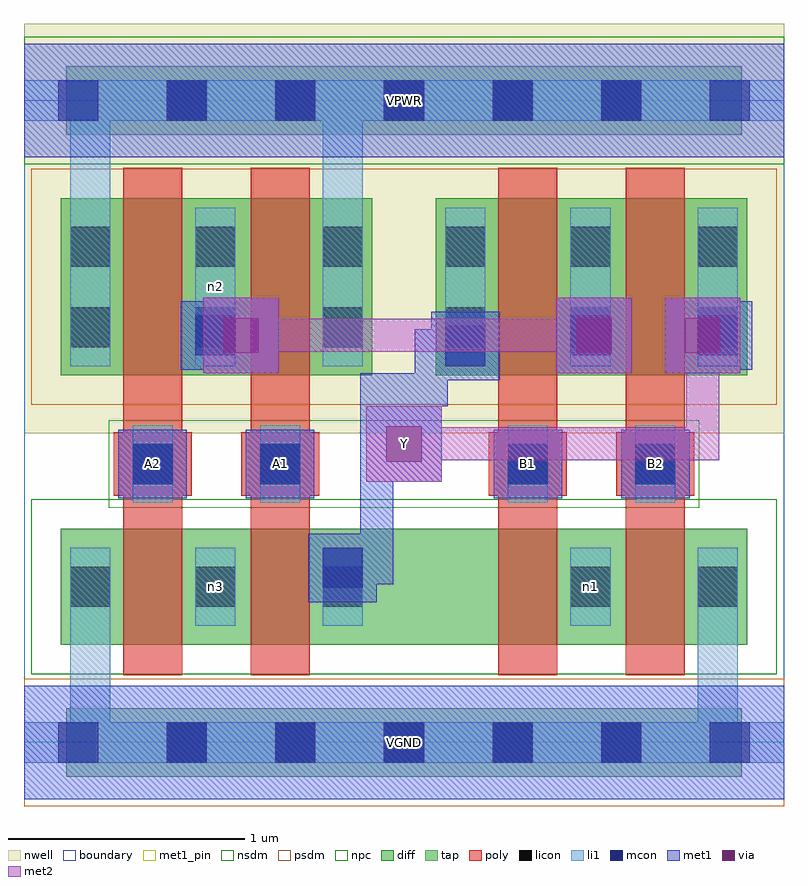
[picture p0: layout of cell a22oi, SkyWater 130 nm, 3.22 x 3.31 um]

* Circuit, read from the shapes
.subckt a22oi A1 A2 B1 B2 VGND VPWR Y n1 n2 n3
XM1 n3 A2 VGND VGND sky130_fd_pr__nfet_01v8 w=0.49 l=0.25
XM2 Y A1 n3 VGND sky130_fd_pr__nfet_01v8 w=0.49 l=0.25
XM3 n1 B1 Y VGND sky130_fd_pr__nfet_01v8 w=0.49 l=0.25
XM4 VGND B2 n1 VGND sky130_fd_pr__nfet_01v8 w=0.49 l=0.25
XM5 n2 A2 VPWR VPWR sky130_fd_pr__pfet_01v8 w=0.75 l=0.25
XM6 VPWR A1 n2 VPWR sky130_fd_pr__pfet_01v8 w=0.75 l=0.25
XM7 n2 B1 Y VPWR sky130_fd_pr__pfet_01v8 w=0.75 l=0.25
XM8 Y B2 n2 VPWR sky130_fd_pr__pfet_01v8 w=0.75 l=0.25
.ends

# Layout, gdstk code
import gdstk
lib = gdstk.Library(unit=1e-6, precision=1e-09)
def R(c, l, rs):  # rectangles x0, y0, x1, y1
    for r in rs: c.add(gdstk.rectangle(r[:2], r[2:], *l))
def A(c, l, x, y, w, h, nx, ny, dx, dy):  # array of equal rectangles
    R(c, l, [(x+i*dx, y+j*dy, x+i*dx+w, y+j*dy+h) for i in range(nx) for j in range(ny)])
nwell = (64, 20)
diff = (65, 20)
tap = (65, 44)
poly = (66, 20)
licon = (66, 44)
li1 = (67, 20)
mcon = (67, 44)
met1_pin = (68, 16)
met1 = (68, 20)
via = (68, 44)
met2 = (69, 20)
nsdm = (93, 44)
psdm = (94, 20)
npc = (95, 20)
boundary = (235, 4)

a22oi = lib.new_cell('a22oi')
R(a22oi, nwell, [(0,1.31,3.22,3.045)])
R(a22oi, diff, [(0.155,0.415,3.065,0.905), (0.155,1.555,1.475,2.305), (1.745,1.555,3.065,2.305)])
R(a22oi, tap, [(0.18,-0.145,3.04,0.145), (0.18,2.575,3.04,2.865)])
R(a22oi, poly, [(0.42,0.285,0.67,2.435), (0.96,0.285,1.21,2.435), (2.01,0.285,2.26,2.435), (2.55,0.285,2.8,2.435), (0.38,1.045,0.71,1.315), (0.92,1.045,1.25,1.315), (1.97,1.045,2.3,1.315), (2.51,1.045,2.84,1.315)])
A(a22oi, licon, 0.605, -0.085, 0.17, 0.17, 5, 2, 0.46, 2.72)
R(a22oi, licon, [(0.195,0.575,0.365,0.745), (0.725,0.575,0.895,0.745), (1.265,0.575,1.435,0.745), (2.315,0.575,2.485,0.745), (2.855,0.575,3.025,0.745), (0.46,1.095,0.63,1.265), (1,1.095,1.17,1.265), (2.05,1.095,2.22,1.265), (2.59,1.095,2.76,1.265), (0.195,1.675,0.365,1.845), (0.725,1.675,0.895,1.845), (1.265,1.675,1.435,1.845), (1.785,1.675,1.955,1.845), (2.315,1.675,2.485,1.845), (2.855,1.675,3.025,1.845), (0.195,2.015,0.365,2.185), (0.725,2.015,0.895,2.185), (1.265,2.015,1.435,2.185), (1.785,2.015,1.955,2.185), (2.315,2.015,2.485,2.185), (2.855,2.015,3.025,2.185)])
R(a22oi, li1, [(0,-0.085,3.22,0.085), (0.195,-0.085,0.365,0.825), (2.855,-0.085,3.025,0.825), (0.195,0.495,0.365,0.825), (0.725,0.495,0.895,0.825), (1.265,0.495,1.435,0.825), (2.315,0.495,2.485,0.825), (2.855,0.495,3.025,0.825), (0.46,1.015,0.63,1.345), (1,1.015,1.17,1.345), (2.05,1.015,2.22,1.345), (2.59,1.015,2.76,1.345), (0.195,1.595,0.365,2.265), (0.195,1.595,0.365,2.805), (0.725,1.595,0.895,2.265), (1.265,1.595,1.435,2.265), (1.265,1.595,1.435,2.805), (1.785,1.595,1.955,2.265), (2.315,1.595,2.485,2.265), (2.855,1.595,3.025,2.265), (0,2.635,3.22,2.805)])
A(a22oi, mcon, 0.145, -0.085, 0.17, 0.17, 7, 2, 0.46, 2.72)
R(a22oi, mcon, [(1.265,0.655,1.435,0.825), (0.46,1.095,0.63,1.265), (1,1.095,1.17,1.265), (2.05,1.095,2.22,1.265), (2.59,1.095,2.76,1.265), (1.785,1.595,1.955,1.765), (0.725,1.64,0.895,1.81), (2.315,1.64,2.485,1.81), (2.855,1.64,3.025,1.81)])
R(a22oi, met1_pin, [(0,-0.24,3.22,0.24), (0.4,1.035,0.69,1.325), (0.94,1.035,1.23,1.325), (1.99,1.035,2.28,1.325), (2.53,1.035,2.82,1.325), (1.45,1.105,1.77,1.425), (0,2.48,3.22,2.96)])
R(a22oi, met1, [(0,-0.24,3.22,0.24), (1.205,0.595,1.495,0.885), (1.28,0.67,1.565,0.81), (1.425,0.67,1.565,0.99), (1.425,0.85,1.565,1.565), (0.4,1.035,0.69,1.325), (0.94,1.035,1.23,1.325), (1.99,1.035,2.28,1.325), (2.53,1.035,2.82,1.325), (1.45,1.105,1.77,1.425), (1.425,1.195,1.68,1.335), (1.425,1.335,1.68,1.425), (1.425,1.425,1.795,1.565), (1.655,1.425,1.795,1.75), (1.725,1.535,2.015,1.825), (0.76,1.565,1.08,1.885), (2.255,1.565,2.575,1.885), (2.715,1.565,3.035,1.885), (0.665,1.58,0.955,1.87), (2.255,1.58,2.545,1.87), (2.795,1.58,3.085,1.87), (1.655,1.61,1.94,1.75), (0.74,1.655,0.99,1.795), (2.33,1.655,2.485,1.795), (2.805,1.655,3.01,1.795), (0,2.48,3.22,2.96)])
R(a22oi, via, [(1.535,1.19,1.685,1.34), (0.845,1.65,0.995,1.8), (2.34,1.65,2.49,1.8), (2.8,1.65,2.95,1.8)])
R(a22oi, met2, [(1.45,1.105,1.77,1.425), (1.54,1.195,2.945,1.335), (2.805,1.195,2.945,1.795), (0.76,1.565,1.08,1.885), (2.255,1.565,2.575,1.885), (2.715,1.565,3.035,1.885), (0.85,1.655,2.485,1.795)])
R(a22oi, nsdm, [(0.03,0.29,3.19,1.03), (0,2.45,3.22,2.99)])
R(a22oi, psdm, [(0,-0.27,3.22,0.27), (0.03,1.43,3.19,2.43)])
R(a22oi, npc, [(0.36,0.995,2.86,1.365)])
R(a22oi, boundary, [(0,0,3.22,2.72)])
a22oi.add(gdstk.Label('n3', (0.81,0.66), layer=67, texttype=5))
a22oi.add(gdstk.Label('n1', (2.4,0.66), layer=67, texttype=5))
a22oi.add(gdstk.Label('n2', (0.81,1.93), layer=67, texttype=5))
a22oi.add(gdstk.Label('A1', (1.085,1.18), layer=68, texttype=5))
a22oi.add(gdstk.Label('A2', (0.545,1.18), layer=68, texttype=5))
a22oi.add(gdstk.Label('B1', (2.135,1.18), layer=68, texttype=5))
a22oi.add(gdstk.Label('B2', (2.675,1.18), layer=68, texttype=5))
a22oi.add(gdstk.Label('Y', (1.61,1.265), layer=68, texttype=5))
a22oi.add(gdstk.Label('VPWR', (1.61,2.72), layer=68, texttype=5))
a22oi.add(gdstk.Label('VGND', (1.61,0), layer=68, texttype=5))
a22oi.add(gdstk.Label('A1', (1.085,1.18), layer=68, texttype=16))
a22oi.add(gdstk.Label('A2', (0.545,1.18), layer=68, texttype=16))
a22oi.add(gdstk.Label('B1', (2.135,1.18), layer=68, texttype=16))
a22oi.add(gdstk.Label('B2', (2.675,1.18), layer=68, texttype=16))
a22oi.add(gdstk.Label('Y', (1.61,1.265), layer=68, texttype=16))
a22oi.add(gdstk.Label('VPWR', (1.61,2.72), layer=68, texttype=16))
a22oi.add(gdstk.Label('VGND', (1.61,0), layer=68, texttype=16))

lib.write_gds('a22oi.gds')
